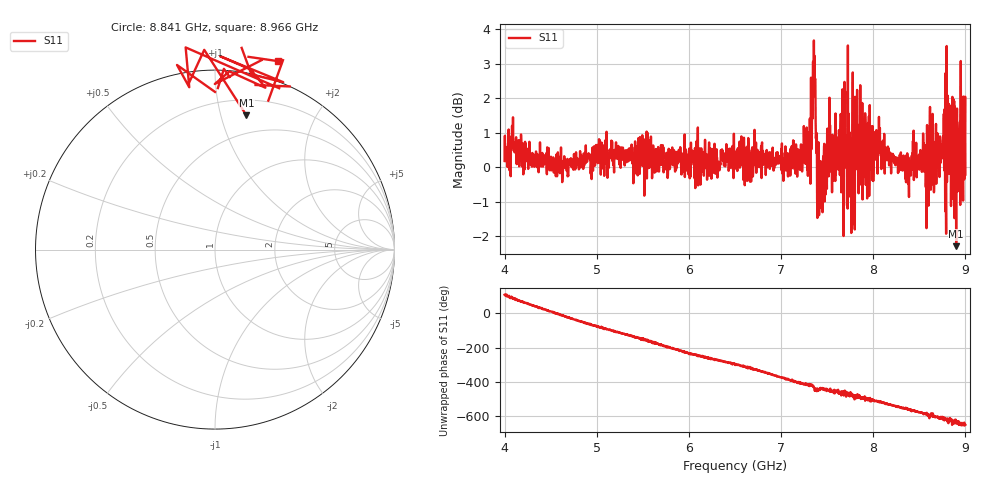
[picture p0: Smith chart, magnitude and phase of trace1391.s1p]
! Created with skrf 1.8.0 (http://scikit-rf.org).
# Hz S RI R 50.0
!freq ReS11 ImS11
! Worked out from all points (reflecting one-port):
!   1601 points, 4 GHz to 9 GHz, reference 50 ohm
!   lowest |S11| = -2.3 dB at 8.9 GHz (marker M1), VSWR 7.63, Z = 16.5 + j60.3 ohm
!   phase of S11 starts at 109 deg and turns -760 deg over the sweep
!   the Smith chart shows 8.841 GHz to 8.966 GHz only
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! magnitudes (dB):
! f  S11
! 4 GHz  0.2
! 4.1 GHz  0.6
! 4.625 GHz  -0.4
! 5.25 GHz  0.4
! 5.875 GHz  0.1
! 6.5 GHz  0.1
! 7.125 GHz  0.2
! 7.294 GHz  0.4
! 7.35 GHz  2.0
! 7.362 GHz  3.2
! 7.397 GHz  -0.4
! 7.416 GHz  -0.9
! 7.512 GHz  1.0
! 7.562 GHz  0.4
! 7.638 GHz  -0.2
! 7.669 GHz  1.2
! 7.75 GHz  0.5
! 7.775 GHz  1.1
! 7.928 GHz  0.7
! 8.375 GHz  -0.2
! 8.541 GHz  1.0
! 8.584 GHz  1.2
! 8.766 GHz  1.5
! 8.819 GHz  0.1
! 8.9 GHz  -2.3
! 8.919 GHz  0.0
! 8.972 GHz  -0.1
! 9 GHz  -0.2
